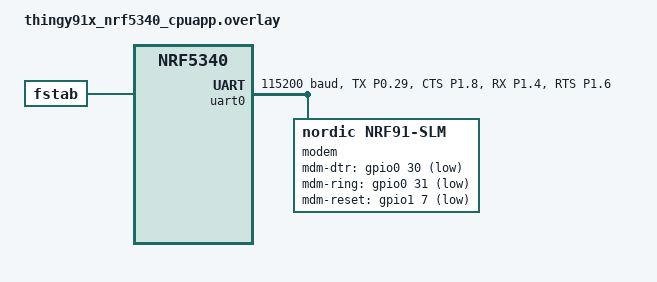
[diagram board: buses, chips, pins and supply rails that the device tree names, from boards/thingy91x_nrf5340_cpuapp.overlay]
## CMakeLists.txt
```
# SPDX-License-Identifier: Apache-2.0

cmake_minimum_required(VERSION 3.20.0)
find_package(Zephyr REQUIRED HINTS $ENV{ZEPHYR_BASE})
project(gateway)

target_include_directories(app PRIVATE include ${CMAKE_CURRENT_BINARY_DIR})

target_sources(app PRIVATE
  src/credentials.c
  src/fatal_error.c
  src/main.c
  git_describe.h
)

if(CONFIG_WIFI)
  target_sources(app PRIVATE src/wifi.c)
endif()

file(WRITE ${CMAKE_CURRENT_BINARY_DIR}/mk-git-describe.sh
  "echo \"#define GIT_DESCRIBE \\\\\" > ${CMAKE_CURRENT_BINARY_DIR}/git_describe.h\n"
  "git describe --always --dirty >> ${CMAKE_CURRENT_BINARY_DIR}/git_describe.h || true\n")

add_custom_command(OUTPUT git_describe.h always_run
  COMMAND chmod +x ${CMAKE_CURRENT_BINARY_DIR}/mk-git-describe.sh
  COMMAND ${CMAKE_CURRENT_BINARY_DIR}/mk-git-describe.sh
  WORKING_DIRECTORY ${CMAKE_CURRENT_LIST_DIR})

if (NOT CONFIG_EXAMPLE_COAP_CLIENT_DTLS_LOAD_CA_FROM_FILESYSTEM)
  generate_inc_file_for_target(app
    ${CMAKE_CURRENT_SOURCE_DIR}/../http_client/src/isrgrootx1.der
    ${ZEPHYR_BINARY_DIR}/include/generated/pouch-ca-crt.inc)
endif()
```

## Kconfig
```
# Copyright (c) 2025 Golioth, Inc.
# SPDX-License-Identifier: Apache-2.0

configdefault NET_SHELL
	default n

configdefault MBEDTLS_HEAP_SIZE
	default 16384

configdefault BT_CTLR_DATA_LENGTH_MAX
	default 251

# This option is used only for automated tests
config SAMPLE_POUCH_GATEWAY_BT_AUTO_BOND
	bool
	default y if BOARD_NRF52_BSIM_NATIVE
	default y if BOARD_NRF9160DK_NRF52840
	default y if BOARD_THINGY91X_NRF5340_CPUAPP_NS

# This option is used only for automated tests
config SAMPLE_POUCH_GATEWAY_BT_AUTO_CONFIRM
	bool
	default y if BOARD_NRF52_BSIM_NATIVE
	default y if BOARD_NRF9160DK_NRF52840
	default y if BOARD_THINGY91X_NRF5340_CPUAPP_NS

config EXAMPLE_COAP_CLIENT_SYNC_PERIOD_S
	int "CoAP client sync period (s)"
	default 30

config EXAMPLE_CREDENTIALS_DIR
	string "Directory containing credentials"
	default "/lfs1/credentials"
	help
	  Directory on mounted file system containing credentials.

config EXAMPLE_COAP_CLIENT_DTLS_CREDENTIALS
	int "Sec Tag to use when storing DTLS credentials"
	default 515765868

config EXAMPLE_COAP_CLIENT_DTLS_LOAD_CA_FROM_FILESYSTEM
	bool "Load the server CA cert from filesystem"
	help
	  Optionally load the CA certificate used for DTLS/mTLS from
	  EXAMPLE_CREDENTIALS_DIR/ca.der. If this symbol is not selected,
	  ISRG Root X1 is used.

config EXAMPLE_COAP_CLIENT_GW_DEVICE_CRT_FILENAME
	string "Gateway device crt filename in filesystem"
	default "crt.der"
	help
	  The filename used to store the mTLS device certificate in the filesystem.

config EXAMPLE_COAP_CLIENT_GW_DEVICE_KEY_FILENAME
	string "Gateway device key filename in filesystem"
	default "key.der"
	help
	  The filename used to store the mTLS device private key in the filesystem.

config EXAMPLE_POUCH_DEVICE_CRT_FILENAME
	string "Pouch device crt filename in filesystem"
	default "crt.der"
	help
	  The filename used to store the pouch device certificate in the filesystem.

config EXAMPLE_POUCH_DEVICE_KEY_FILENAME
	string "Pouch device key filename in filesystem"
	default "key.der"
	help
	  The filename used to store the pouch device private key in the filesystem.

source "Kconfig.zephyr"
```

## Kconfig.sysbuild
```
# Copyright (c) 2025 Golioth, Inc.
# SPDX-License-Identifier: Apache-2.0

rsource "Kconfig.sysbuild.defconfig"

menu "Gateway configuration"

config POUCH_GATEWAY_CLOUD
	bool "Send pouches to cloud"
	default y
	help
	  Disabling cloud communication allows to test Pouch Gateway
	  functionality without relying on communication with backend. All
	  pouches received from Bluetooth nodes are dropped in that case.

config POUCH_COAP_GW_URI
	string "CoAP gateway address"
	default "$(CONFIG_POUCH_COAP_GW_URI)" if "$(CONFIG_POUCH_COAP_GW_URI)" != ""
	default "coap.golioth.io"
	help
	  Hostname of the CoAP gateway server.

endmenu

menu "BabbleSim components"
	depends on SOC = "native"

config BSIM_HANDBRAKE
	bool "Handbrake"
	default y if POUCH_GATEWAY_CLOUD

endmenu

menu "BabbleSim peripherals"
	depends on SOC = "native"

config PERIPHERAL_ZEPHYR
	bool "Zephyr"
	help
	  Zephyr peripheral sample.

config PERIPHERAL_ZEPHYR_NUM
	int "Number of Zephyr peripherals"
	default 1
	depends on PERIPHERAL_ZEPHYR

config PERIPHERAL_PERIODIC_UPLINK
	bool "Periodic uplink"
	help
	  Periodic uplink sample.

config PERIPHERAL_PERIODIC_UPLINK_NUM
	int "Number of periodic uplink peripherals"
	default 1
	depends on PERIPHERAL_PERIODIC_UPLINK

config PERIPHERAL_BLE_GATT_EXAMPLE
	bool "BLE GATT example"
	default y
	help
	  BLE GATT sample.

config PERIPHERAL_BLE_GATT_EXAMPLE_NUM
	int "Number of BLE GATT example peripherals"
	default 1
	depends on PERIPHERAL_BLE_GATT_EXAMPLE

endmenu

config PERIPHERAL_MOUNT_CREDS
	string "Peripheral /creds mount source"
	default ""
	help
	  When set to a non-empty value, mount that host-side path (resolved
	  relative to each peripheral sub-image's runtime cwd) at /creds
	  inside the peripheral image. Leave empty to disable the mount.

config GATEWAY_MOUNT_CREDS
	string "Gateway /creds mount source"
	default ""
	help
	  When set to a non-empty value, mount that host-side path (resolved
	  relative to the gateway sub-image's runtime cwd) at /creds inside
	  the gateway image. Leave empty to disable the mount.

source "share/sysbuild/Kconfig"
```

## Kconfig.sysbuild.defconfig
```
# Copyright (c) 2026 Golioth, Inc.
# SPDX-License-Identifier: Apache-2.0

if BOARD_THINGY91X_NRF5340_CPUAPP || BOARD_THINGY91X_NRF5340_CPUAPP_NS

choice NETCORE
	prompt "Netcore image"
	default NETCORE_HCI_IPC

config NETCORE_HCI_IPC
	bool "hci_ipc"

endchoice

choice THINGY91X_LAYOUT
	prompt "Pre-defined Thingy:91 X partition layout"
	default THINGY91X_NO_PREDEFINED_LAYOUT

config THINGY91X_NO_PREDEFINED_LAYOUT
	bool "None [EXPERIMENTAL]"
endchoice

configdefault SECURE_BOOT_NETCORE
	bool
	default n

configdefault SECURE_BOOT_APPCORE
	bool
	default n

configdefault NETCORE_APP_UPDATE
	bool
	default n

configdefault NRF_DEFAULT_EMPTY
	bool
	default n

endif # BOARD_THINGY91X_NRF5340_CPUAPP || BOARD_THINGY91X_NRF5340_CPUAPP_NS
```

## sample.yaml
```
sample:
  name: Pouch Gateway
common:
  tags: bluetooth
  harness: pytest
  harness_config:
    pytest_dut_scope: module
  sysbuild: true
  platform_allow:
    - nrf52_bsim
  integration_platforms:
    - nrf52_bsim
  timeout: 180
tests:
  pouch.gateway.lesc:
    harness_config:
      pytest_dut_scope: module
      pytest_root:
        - pytest/test_sample.py
    extra_args:
      - SB_CONFIG_PERIPHERAL_MOUNT_CREDS=y
      - SB_CONFIG_GATEWAY_MOUNT_CREDS=y
      - peripheral_ble_gatt_example_0_CONFIG_PICOLIBC=y
      - peripheral_ble_gatt_example_0_CONFIG_FILE_SYSTEM_NSIM_MOUNT=y
      - peripheral_ble_gatt_example_0_CONFIG_EXAMPLE_SYNC_PERIOD_S=2
      - gateway_CONFIG_EXAMPLE_COAP_CLIENT_SYNC_PERIOD_S=2
  pouch.gateway.auth:
    harness_config:
      pytest_dut_scope: module
      pytest_root:
        - pytest/test_sample.py
    extra_args:
      - SB_CONFIG_PERIPHERAL_MOUNT_CREDS=y
      - SB_CONFIG_GATEWAY_MOUNT_CREDS=y
      - peripheral_ble_gatt_example_0_CONFIG_PICOLIBC=y
      - peripheral_ble_gatt_example_0_CONFIG_FILE_SYSTEM_NSIM_MOUNT=y
      - peripheral_ble_gatt_example_0_CONFIG_EXAMPLE_SYNC_PERIOD_S=2
      - gateway_CONFIG_EXAMPLE_COAP_CLIENT_SYNC_PERIOD_S=2
      - gateway_CONFIG_POUCH_GATEWAY_GATT_SCAN_FILTER_BONDED=y
  pouch.gateway.ota:
    timeout: 300
    harness_config:
      pytest_dut_scope: module
      pytest_root:
        - pytest/test_ota.py
      pytest_args:
        - --ota-mode=dummy
    extra_args:
      - SB_CONFIG_PERIPHERAL_MOUNT_CREDS=y
      - SB_CONFIG_GATEWAY_MOUNT_CREDS=y
      - peripheral_ble_gatt_example_0_CONFIG_PICOLIBC=y
      - peripheral_ble_gatt_example_0_CONFIG_FILE_SYSTEM_NSIM_MOUNT=y
      - peripheral_ble_gatt_example_0_CONFIG_EXAMPLE_SYNC_PERIOD_S=2
      - peripheral_ble_gatt_example_0_CONFIG_EXAMPLE_FW_UPDATE_SHA256_VERIFY=y
      - peripheral_ble_gatt_example_0_CONFIG_GOLIOTH_OTA_MAX_VERSION_LEN=64
      - peripheral_ble_gatt_example_0_EXTRA_CONF_FILE=../gateway/overlay-ble_gatt-ci-ota.conf
      - gateway_CONFIG_EXAMPLE_COAP_CLIENT_SYNC_PERIOD_S=2
```

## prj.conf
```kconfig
CONFIG_POUCH=y
CONFIG_POUCH_GATEWAY=y
CONFIG_POUCH_TRANSPORT_COAP_CLIENT=y
CONFIG_GOLIOTH=y
CONFIG_GOLIOTH_SETTINGS=y

CONFIG_BT=y
CONFIG_BT_CENTRAL=y
CONFIG_BT_MAX_CONN=16
CONFIG_BT_GATT_CLIENT=y
CONFIG_BT_GATT_CACHING=n
CONFIG_BT_GATT_AUTO_UPDATE_MTU=y
CONFIG_BT_L2CAP_TX_MTU=247
CONFIG_BT_BUF_ACL_TX_SIZE=251
CONFIG_BT_BUF_ACL_RX_SIZE=251
CONFIG_BT_RX_STACK_SIZE=4096

CONFIG_COAP_INIT_ACK_TIMEOUT_MS=3000

CONFIG_LOG=y

# Settings subsystem
CONFIG_FLASH=y
CONFIG_FLASH_MAP=y

CONFIG_SETTINGS=y
CONFIG_SETTINGS_FILE=y
CONFIG_SETTINGS_FILE_PATH="/lfs1/settings"

# Application
CONFIG_MAIN_STACK_SIZE=8192
CONFIG_SYSTEM_WORKQUEUE_STACK_SIZE=2048
CONFIG_SHELL=y

CONFIG_ZVFS_EVENTFD_MAX=11

# Pouch server certificate parse
CONFIG_MBEDTLS_PSA_CRYPTO_C=y
CONFIG_MBEDTLS_PEM_PARSE_C=y
CONFIG_PSA_WANT_ALG_ECDSA=y
CONFIG_PSA_WANT_ALG_SHA_384=y
CONFIG_PSA_WANT_ECC_SECP_R1_256=y
CONFIG_PSA_WANT_ECC_SECP_R1_384=y
CONFIG_PSA_WANT_KEY_TYPE_ECC_PUBLIC_KEY=y

# Bluetooth secure connections
CONFIG_BT_SMP=y
CONFIG_BT_SECURITY_ERR_TO_STR=y
# This option is implied by BT_SMP and breaks secp384r1 support
CONFIG_MBEDTLS_PSA_P256M_DRIVER_ENABLED=n

# Networking
CONFIG_NETWORKING=y
CONFIG_NET_IPV4=y
CONFIG_NET_IPV6=n
CONFIG_NET_UDP=y
CONFIG_DNS_RESOLVER=y
CONFIG_NET_SOCKETS_CONNECT_TIMEOUT=6000
CONFIG_NET_SOCKETS_SOCKOPT_TLS=y
CONFIG_NET_SOCKETS_ENABLE_DTLS=y

# Sockets
CONFIG_NET_SOCKETS=y
CONFIG_ZVFS_POLL_MAX=4
CONFIG_POSIX_API=y

# Network driver config
CONFIG_TEST_RANDOM_GENERATOR=y

# Network buffers
CONFIG_NET_PKT_RX_COUNT=8
CONFIG_NET_PKT_TX_COUNT=8
CONFIG_NET_CONTEXT_NET_PKT_POOL=y

# Network address config
CONFIG_NET_CONFIG_SETTINGS=y
CONFIG_NET_CONFIG_NEED_IPV4=y
CONFIG_NET_CONFIG_NEED_IPV6=n

# CoAP
CONFIG_COAP=y

# File system for credentials
CONFIG_FILE_SYSTEM=y
CONFIG_FILE_SYSTEM_LITTLEFS=y
CONFIG_FILE_SYSTEM_SHELL=y

# Flash for LittleFS
CONFIG_STREAM_FLASH=y

# TLS/DTLS configuration
CONFIG_MBEDTLS=y
CONFIG_MBEDTLS_BUILTIN=y
CONFIG_MBEDTLS_ENABLE_HEAP=y
CONFIG_MBEDTLS_HEAP_SIZE=60000
CONFIG_MBEDTLS_SSL_MAX_CONTENT_LEN=16384
CONFIG_MBEDTLS_SSL_PROTO_TLS1_2=y
CONFIG_MBEDTLS_X509_CRT_PARSE_C=y
CONFIG_MBEDTLS_KEY_EXCHANGE_ECDHE_ECDSA_ENABLED=y

# TLS cipher suites (via PSA Crypto)
CONFIG_PSA_WANT_ALG_ECDH=y
CONFIG_PSA_WANT_ALG_ECDSA=y
CONFIG_PSA_WANT_ALG_GCM=y
CONFIG_PSA_WANT_ALG_RSA_PKCS1V15_SIGN=y
CONFIG_PSA_WANT_ALG_SHA_256=y
CONFIG_PSA_WANT_ALG_TLS12_PRF=y
CONFIG_PSA_WANT_KEY_TYPE_AES=y
CONFIG_PSA_WANT_KEY_TYPE_ECC_KEY_PAIR_GENERATE=y
CONFIG_PSA_WANT_KEY_TYPE_RSA_PUBLIC_KEY=y
CONFIG_PSA_WANT_KEY_TYPE_RSA_KEY_PAIR_IMPORT=y

# Misc
CONFIG_REBOOT=y

# The shared pouch_buf pool backs both device-side pouch transfers
# and gateway downlink buffering.  Each slot must fit one CoAP block
# (CONFIG_POUCH_COAP_BLOCK_SIZE, default 1024) plus the protocol
# header overhead.  The count covers POUCH_GATEWAY_NUM_BLOCKS in-flight
# downlink blocks (default 10) plus headroom for the gateway's own
# device-side uplink/downlink.
CONFIG_POUCH_BLOCK_SIZE=1024
CONFIG_POUCH_BLOCK_COUNT=12

# Server cert buffers (Golioth's server cert is ~1.5 KB)
CONFIG_POUCH_SERVER_CERT_MAX_LEN=2048
CONFIG_POUCH_GATEWAY_SERVER_CERT_MAX_LEN=2048

# Enable mcumgr
CONFIG_ZCBOR=y
CONFIG_MCUMGR=y

# Enable the shell mcumgr transport. This allows SMP messages to pass
# through the shell to the mgmt subsystem.
CONFIG_BASE64=y
CONFIG_CRC=y
CONFIG_MCUMGR_TRANSPORT_SHELL=y

# Enable mcumgr params to allow smpmgr to query device for its MTU
CONFIG_MCUMGR_GRP_OS=y
CONFIG_MCUMGR_GRP_OS_MCUMGR_PARAMS=y

# Enable file system commands
CONFIG_MCUMGR_GRP_FS=y
CONFIG_MCUMGR_GRP_FS_FILE_ACCESS_HOOK=y
CONFIG_MCUMGR_MGMT_NOTIFICATION_HOOKS=y
```

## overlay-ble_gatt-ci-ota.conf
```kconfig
CONFIG_EXAMPLE_FW_UPDATE_COMPONENT="ci_gateway_ota_fw"
```

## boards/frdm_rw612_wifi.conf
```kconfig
# Extra configuration file for using NXP frdm_rw612 with WiFi instead of Ethernet
#   To use, add as extra conf file:
#   west build -p -b frdm_rw612 <path_to>/gateway -- -DEXTRA_CONF_FILE=boards/frdm_rw612_wifi.conf
#
CONFIG_WIFI=y
CONFIG_WIFI_NXP=y

# Ensure that filesystem initializes before settings
CONFIG_FILE_SYSTEM_INIT_PRIORITY=89

# Runtime provisioning for WiFi credentials
CONFIG_WIFI_CREDENTIALS=y
CONFIG_NET_L2_WIFI_SHELL=y
CONFIG_SHELL_STACK_SIZE=2560

# Wifi Configuration
CONFIG_NET_L2_ETHERNET=y
CONFIG_NET_PKT_RX_COUNT=36
CONFIG_NET_PKT_TX_COUNT=36
CONFIG_NET_BUF_RX_COUNT=40
CONFIG_NET_BUF_TX_COUNT=40
CONFIG_NET_BUF_DATA_SIZE=1744

# Handle WiFi Networks with Multiple DNS Servers
CONFIG_DNS_RESOLVER_MAX_SERVERS=3

# Disable Ethernet
CONFIG_ETH_NXP_ENET=n
CONFIG_PHY_MICROCHIP_KSZ8081=n
CONFIG_NET_CONFIG_AUTO_INIT=n
CONFIG_NET_CONFIG_NEED_IPV4=n
```

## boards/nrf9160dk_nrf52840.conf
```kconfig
# Reduce max connected BT devices help with RAM usage
CONFIG_BT_MAX_CONN=8

# PPP
CONFIG_NET_L2_PPP=y
CONFIG_NET_L2_PPP_OPTION_DNS_USE=y

# Network management
CONFIG_NET_MGMT=y
CONFIG_NET_MGMT_EVENT=y
CONFIG_NET_CONNECTION_MANAGER=y

# Modem driver
CONFIG_MODEM=y
CONFIG_MODEM_CELLULAR=y

# Align with the Serial LTE Modem (SLM) application.
CONFIG_MODEM_CELLULAR_UART_BUFFER_SIZES=6000

# CMUX configuration
# MTU must accommodate PPP frames (up to 1500 bytes for IP packets)
CONFIG_MODEM_CMUX_MTU=1500
CONFIG_MODEM_CMUX_WORK_BUFFER_SIZE_EXTRA=1024

# NB-IoT latency can reach 10s; use greater timeouts
CONFIG_NET_SOCKETS_DNS_TIMEOUT=15000
CONFIG_NET_SOCKETS_CONNECT_TIMEOUT=15000
CONFIG_COAP_INIT_ACK_TIMEOUT_MS=15000
CONFIG_NET_SOCKETS_DTLS_TIMEOUT=15000
```

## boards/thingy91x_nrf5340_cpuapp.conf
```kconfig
# Reduce max connected BT devices to help with RAM usage
CONFIG_BT_MAX_CONN=8

# PPP networking over Serial Modem
CONFIG_NET_L2_PPP=y
CONFIG_NET_L2_PPP_OPTION_DNS_USE=y

# Network management
CONFIG_NET_MGMT=y
CONFIG_NET_MGMT_EVENT=y
CONFIG_NET_CONNECTION_MANAGER=y

# Modem driver
CONFIG_MODEM=y
CONFIG_MODEM_CELLULAR=y

# CMUX and buffer configuration
# MTU must accommodate PPP frames (up to 1500 bytes for IP packets)
CONFIG_MODEM_CMUX_MTU=1500
CONFIG_MODEM_CELLULAR_UART_BUFFER_SIZES=6000
CONFIG_MODEM_CMUX_WORK_BUFFER_SIZE_EXTRA=2048

# UART configuration for nRF5340
CONFIG_UART_INTERRUPT_DRIVEN=y
CONFIG_UART_ASYNC_API=n

# GPIO
CONFIG_GPIO=y

# Console on RTT (UART0 is used for the modem)
CONFIG_UART_CONSOLE=n
CONFIG_RTT_CONSOLE=y
CONFIG_SHELL_BACKEND_RTT=y
CONFIG_LOG_BACKEND_UART=n
CONFIG_SEGGER_RTT_BUFFER_SIZE_UP=2048

# Debug logging
CONFIG_LOG_DEFAULT_LEVEL=3

# NB-IoT latency can reach 10s; use greater timeouts
CONFIG_NET_SOCKETS_DNS_TIMEOUT=15000
CONFIG_NET_SOCKETS_CONNECT_TIMEOUT=15000
CONFIG_COAP_INIT_ACK_TIMEOUT_MS=15000
CONFIG_NET_SOCKETS_DTLS_TIMEOUT=15000

# Increase default BT ACL TX count
CONFIG_BT_BUF_ACL_TX_COUNT=7
```

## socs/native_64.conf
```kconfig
# Use offloaded sockets using host BSD sockets
CONFIG_ETH_DRIVER=n
CONFIG_ETH_NATIVE_TAP=n
CONFIG_NET_DRIVERS=y
CONFIG_NET_SOCKETS=y
CONFIG_NET_SOCKETS_OFFLOAD=y
CONFIG_NET_NATIVE_OFFLOADED_SOCKETS=y

# Use embedded libc to use Zephyr's eventfd instead of host eventfd
CONFIG_PICOLIBC=y

# Static networking
CONFIG_NET_CONFIG_LOG_LEVEL_DBG=y
CONFIG_NET_CONFIG_SETTINGS=y
CONFIG_NET_CONFIG_NEED_IPV4=y
CONFIG_NET_CONFIG_MY_IPV4_ADDR="192.0.2.1"
CONFIG_NET_CONFIG_MY_IPV4_GW="192.0.2.2"
CONFIG_NET_CONFIG_PEER_IPV4_ADDR="192.0.2.2"
```

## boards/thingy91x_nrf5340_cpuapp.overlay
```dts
/*
 * Thingy:91 X overlay for Serial Modem communication with on-board nRF9151
 *
 * UART0 is used for Serial Modem communication with 4-wire UART (HW flow control).
 * Pin assignment matches the pouch-gateway BT HCI UART wiring:
 *   TX  = P0.29 <-> nRF9151 P0.00 (RX)
 *   RX  = P1.04 <-> nRF9151 P0.01 (TX)
 *   RTS = P1.06 <-> nRF9151 P0.05 (CTS)
 *   CTS = P1.08 <-> nRF9151 P0.04 (RTS)
 *   DTR = P1.15 <-> nRF9151 P0.26 (Power/DTR)
 *
 * Console is on RTT since UART0 is used for the modem.
 */

/ {
	chosen {
		zephyr,code-partition = &slot0_partition;
	};

	aliases {
		modem = &modem;
	};

	fstab {
		compatible = "zephyr,fstab";
		lfs1: lfs1 {
			compatible = "zephyr,fstab,littlefs";
			mount-point = "/lfs1";
			partition = <&storage_partition>;
			automount;
			read-size = <16>;
			prog-size = <16>;
			cache-size = <64>;
			lookahead-size = <32>;
			block-cycles = <512>;
		};
	};
};

/delete-node/ &boot_partition;
/delete-node/ &slot0_partition;
/delete-node/ &slot1_partition;

&flash0 {
	partitions {
		slot0_partition: partition@0 {
			compatible = "zephyr,mapped-partition";
			label = "image-0";
			reg = <0x00000000 0x000f8000>;
		};
	};
};

&uart0 {
	status = "okay";
	current-speed = <115200>;
	hw-flow-control;
	pinctrl-0 = <&uart_vcom0_vcom1_default>;
	pinctrl-1 = <&uart_vcom0_vcom1_sleep>;
	pinctrl-names = "default", "sleep";

	/* Nordic nRF91 Serial Modem configuration */
	modem: modem {
		compatible = "nordic,nrf91-slm";
		status = "okay";
		mdm-dtr-gpios = <&gpio0 30 GPIO_ACTIVE_LOW>;
		mdm-ring-gpios = <&gpio0 31 (GPIO_ACTIVE_LOW | GPIO_PULL_DOWN)>;
		mdm-reset-gpios = <&gpio1 7 GPIO_ACTIVE_LOW>;
	};
};

&pinctrl {
	/* UART0 with HW flow control using pouch-gateway BT HCI pin assignment */
	uart_vcom0_vcom1_default: uart_vcom0_vcom1_default {
		group1 {
			psels = <NRF_PSEL(UART_TX,  0, 29)>,
			        <NRF_PSEL(UART_CTS, 1, 8)>,
			        <NRF_PSEL(UART_RX,  1, 4)>,
			        <NRF_PSEL(UART_RTS, 1, 6)>;
		};
	};

	uart_vcom0_vcom1_sleep: uart_vcom0_vcom1_sleep {
		group1 {
			psels = <NRF_PSEL(UART_TX, 0, 29)>,
				<NRF_PSEL(UART_CTS, 1, 8)>,
				<NRF_PSEL(UART_RX, 1, 4)>,
				<NRF_PSEL(UART_RTS, 1, 6)>;
			low-power-enable;
		};
	};
};
```

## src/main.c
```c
/*
 * Copyright (c) 2025 Golioth, Inc.
 *
 * SPDX-License-Identifier: Apache-2.0
 */

#include <zephyr/bluetooth/bluetooth.h>
#include <zephyr/bluetooth/conn.h>
#include <zephyr/bluetooth/hci.h>
#include <zephyr/net/net_if.h>
#include <zephyr/net/net_mgmt.h>
#include <zephyr/net/dhcpv4.h>
#include <zephyr/drivers/gpio.h>

#include <pouch/pouch.h>
#include <pouch/uplink.h>
#include <pouch/transport/bluetooth/gatt.h>
#include <pouch/transport/certificate.h>
#include <pouch/transport/coap/client.h>
#include <pouch/transport/coap/gateway.h>

#include <pouch/gateway/bt/bond.h>
#include <pouch/gateway/bt/connect.h>
#include <pouch/gateway/bt/scan.h>
#include <pouch/gateway/cert.h>
#include <pouch/gateway/cloud.h>
#include <pouch/gateway/uplink.h>

#include <golioth/settings_callbacks.h>

#include "credentials.h"

#if defined(CONFIG_WIFI)
#include "wifi.h"
#endif

#include <git_describe.h>

#include <zephyr/logging/log.h>
LOG_MODULE_REGISTER(main);

struct net_wait_data
{
    struct k_sem sem;
    struct net_mgmt_event_callback cb;
};

static const struct gpio_dt_spec button = GPIO_DT_SPEC_GET_OR(DT_ALIAS(sw0), gpios, {});
static struct gpio_callback button_cb_data;
static struct bt_conn *default_conn;

static const k_timeout_t bonding_timeout = K_SECONDS(30);
static const bt_security_t bt_security =
    IS_ENABLED(CONFIG_POUCH_GATEWAY_GATT_SCAN_FILTER_BONDED) ? BT_SECURITY_L4 : BT_SECURITY_L2;

static void button_pressed(const struct device *dev, struct gpio_callback *cb, uint32_t pins)
{
    if (default_conn)
    {
        LOG_INF("Confirming passkey");
        bt_conn_auth_passkey_confirm(default_conn);
    }
    else if (pouch_gateway_bonding_is_enabled())
    {
        LOG_WRN("Bonding already enabled");
    }
    else
    {
        pouch_gateway_bonding_enable(bonding_timeout);
    }
}

static void do_uplink(void)
{
    const char *payload = "{\"temp\":22}";
    pouch_uplink_entry_write(".s/sensor",
                             POUCH_CONTENT_TYPE_JSON,
                             payload,
                             strlen(payload),
                             POUCH_FOREVER);
}
POUCH_UPLINK_HANDLER(do_uplink);

static int led_setting_cb(bool new_value)
{
    LOG_INF("Received LED setting: %d", (int) new_value);

    return 0;
}

GOLIOTH_SETTINGS_HANDLER(LED, led_setting_cb);

static void event_cb_handler(struct net_mgmt_event_callback *cb,
                             uint64_t mgmt_event,
                             struct net_if *iface)
{
    struct net_wait_data *wait = CONTAINER_OF(cb, struct net_wait_data, cb);

    if (mgmt_event == cb->event_mask)
    {
        k_sem_give(&wait->sem);
    }
}

static void wait_for_net_event(struct net_if *iface, uint64_t event)
{
    struct net_wait_data wait;

    wait.cb.handler = event_cb_handler;
    wait.cb.event_mask = event;

    k_sem_init(&wait.sem, 0, 1);
    net_mgmt_add_event_callback(&wait.cb);

    k_sem_take(&wait.sem, K_FOREVER);

    net_mgmt_del_event_callback(&wait.cb);
}

static void wait_for_network(void)
{
    struct net_if *iface = net_if_get_default();

    if (!net_if_is_up(iface))
    {
        LOG_INF("Bringing up network interface (%p)", (void *) iface);
        int ret = net_if_up(iface);
        if ((ret < 0) && (ret != -EALREADY))
        {
            LOG_ERR("Failed to bring up network interface: %d", ret);
            return;
        }
    }

    if (IS_ENABLED(CONFIG_WIFI))
    {
        struct net_wait_data wait;

        wait.cb.handler = event_cb_handler;
        wait.cb.event_mask = NET_EVENT_IPV4_ADDR_ADD;
        k_sem_init(&wait.sem, 0, 1);
        net_mgmt_add_event_callback(&wait.cb);

        IF_ENABLED(CONFIG_WIFI, (wifi_connect()));

        if (IS_ENABLED(CONFIG_NET_DHCPV4))
        {
            net_dhcpv4_start(iface);
        }

        LOG_INF("Waiting to obtain IP address");
        k_sem_take(&wait.sem, K_FOREVER);
        net_mgmt_del_event_callback(&wait.cb);
    }
    else if (IS_ENABLED(CONFIG_NET_L2_ETHERNET) && IS_ENABLED(CONFIG_NET_DHCPV4))
    {
        net_dhcpv4_start(net_if_get_default());
    }
    else if (IS_ENABLED(CONFIG_MODEM))
    {
        LOG_INF("Waiting to obtain IP address");
        wait_for_net_event(iface,
                           IS_ENABLED(DNS_SERVER_IP_ADDRESSES) ? NET_EVENT_DNS_SERVER_ADD
                                                               : NET_EVENT_IPV4_ADDR_ADD);
    }
}

static void bt_connected(struct bt_conn *conn, uint8_t err)
{
    char addr[BT_ADDR_LE_STR_LEN];

    bt_addr_le_to_str(bt_conn_get_dst(conn), addr, sizeof(addr));

    if (err)
    {
        LOG_ERR("Failed to connect to %s %u %s", addr, err, bt_hci_err_to_str(err));

        bt_conn_unref(conn);

        pouch_gateway_scan_start();
        return;
    }

    LOG_INF("Connected: %s", addr);
    default_conn = conn;

    err = bt_conn_set_security(conn, bt_security);
    if (err)
    {
        LOG_ERR("Failed to set security (%d).", err);

        bt_conn_disconnect(conn, BT_HCI_ERR_REMOTE_USER_TERM_CONN);
        return;
    }
}

static void bt_disconnected(struct bt_conn *conn, uint8_t reason)
{
    char addr[BT_ADDR_LE_STR_LEN];

    default_conn = NULL;

    bt_addr_le_to_str(bt_conn_get_dst(conn), addr, sizeof(addr));
    LOG_INF("Disconnected: %s, reason 0x%02x %s", addr, reason, bt_hci_err_to_str(reason));

    bt_conn_unref(conn);

    pouch_gateway_scan_start();
}

static void on_gateway_end(struct bt_conn *conn)
{
    bt_conn_disconnect(conn, BT_HCI_ERR_REMOTE_USER_TERM_CONN);
}

static void security_changed(struct bt_conn *conn, bt_security_t level, enum bt_security_err err)
{
    if (err)
    {
        LOG_ERR("BT security change failed. Current level: %d, err: %s(%u)",
                level,
                bt_security_err_to_str(err),
                err);

        struct bt_conn_info info;
        bt_conn_get_info(conn, &info);

        bt_unpair(info.id, info.le.dst);
        bt_conn_disconnect(conn, BT_HCI_ERR_INSUFFICIENT_SECURITY);
    }
    else
    {
        LOG_INF("BT security changed to level %u", level);

        int ret = pouch_gateway_bt_start(conn, on_gateway_end);
        if (ret < 0)
        {
            LOG_ERR("Failed to start Pouch gateway (%d)", ret);
            bt_conn_disconnect(conn, BT_HCI_ERR_REMOTE_USER_TERM_CONN);
        }
    }
}

BT_CONN_CB_DEFINE(conn_callbacks) = {
    .connected = bt_connected,
    .disconnected = bt_disconnected,
    .security_changed = security_changed,
};

static void auth_cancel(struct bt_conn *conn)
{
    char addr[BT_ADDR_LE_STR_LEN];

    bt_addr_le_to_str(bt_conn_get_dst(conn), addr, sizeof(addr));

    LOG_INF("Pairing cancelled: %s", addr);
}

static void auth_passkey_confirm(struct bt_conn *conn, unsigned int passkey)
{
    char addr[BT_ADDR_LE_STR_LEN];
    char passkey_str[7];

    bt_addr_le_to_str(bt_conn_get_dst(conn), addr, sizeof(addr));

    snprintk(passkey_str, 7, "%06u", passkey);

    LOG_INF("Confirm passkey for %s: %s", addr, passkey_str);

    if (IS_ENABLED(CONFIG_SAMPLE_POUCH_GATEWAY_BT_AUTO_CONFIRM))
    {
        LOG_INF("Confirming passkey");
        bt_conn_auth_passkey_confirm(conn);
    }
}

static void auth_passkey_display(struct bt_conn *conn, unsigned int passkey)
{
    char addr[BT_ADDR_LE_STR_LEN];
    char passkey_str[7];

    bt_addr_le_to_str(bt_conn_get_dst(conn), addr, sizeof(addr));

    snprintk(passkey_str, 7, "%06u", passkey);

    LOG_INF("Passkey for %s: %s", addr, passkey_str);
}

static struct bt_conn_auth_cb auth_cb = {
    .cancel = auth_cancel,

    .passkey_confirm =
        IS_ENABLED(CONFIG_POUCH_GATEWAY_GATT_SCAN_FILTER_BONDED) ? auth_passkey_confirm : NULL,
    .passkey_display =
        IS_ENABLED(CONFIG_POUCH_GATEWAY_GATT_SCAN_FILTER_BONDED) ? auth_passkey_display : NULL,
};

static void pairing_complete(struct bt_conn *conn, bool bonded)
{
    LOG_INF("Pairing Complete");
}

static void pairing_failed(struct bt_conn *conn, enum bt_security_err reason)
{
    LOG_WRN("Pairing Failed (%d). Disconnecting.", reason);

    bt_conn_disconnect(conn,
                       (reason == BT_SECURITY_ERR_PAIR_NOT_ALLOWED) ? BT_HCI_ERR_PAIRING_NOT_ALLOWED
                                                                    : BT_HCI_ERR_AUTH_FAIL);
}

static struct bt_conn_auth_info_cb auth_info_cb = {
    .pairing_complete = pairing_complete,
    .pairing_failed = pairing_failed,
};

int main(void)
{
    int err;

    LOG_INF("Gateway Version: " STRINGIFY(GIT_DESCRIBE));
    LOG_INF("Pouch BLE Transport Protocol Version: %d", POUCH_GATT_VERSION);

    /* Load the Pouch device's identity (cert + key). */
    struct pouch_config config = {0};

    err = load_certificate(&config.certificate);
    if (err)
    {
        LOG_ERR("Failed to load certificate (err %d)", err);
        return 0;
    }

    config.private_key = load_private_key();
    if (config.private_key == PSA_KEY_ID_NULL)
    {
        LOG_ERR("Failed to load private key");
        return 0;
    }

    LOG_INF("Credentials loaded");

    err = pouch_init(&config);
    if (err)
    {
        LOG_ERR("Pouch init failed (err %d)", err);
        return 0;
    }

    /* Load DTLS credentials for the CoAP transport. */
    if (IS_ENABLED(CONFIG_POUCH_GATEWAY_CLOUD))
    {
        err = load_coap_server_ca(CONFIG_EXAMPLE_COAP_CLIENT_DTLS_CREDENTIALS);
        if (err)
        {
            LOG_ERR("Failed to load server CA certificate (err %d)", err);
            return 0;
        }

        err = load_coap_gw_device_crt(CONFIG_EXAMPLE_COAP_CLIENT_DTLS_CREDENTIALS);
        if (err)
        {
            LOG_ERR("Failed to load device certificate (err %d)", err);
            return 0;
        }

        err = load_coap_gw_device_key(CONFIG_EXAMPLE_COAP_CLIENT_DTLS_CREDENTIALS);
        if (err)
        {
            LOG_ERR("Failed to load device key (err %d)", err);
            return 0;
        }

        err = pouch_coap_client_init(CONFIG_EXAMPLE_COAP_CLIENT_DTLS_CREDENTIALS);
        if (err)
        {
            LOG_ERR("Failed to initialize CoAP client transport: %d", err);
            return err;
        }

        pouch_coap_gateway_init();
    }

    if (DT_HAS_ALIAS(sw0))
    {
        LOG_INF("Set up button at %s pin %d", button.port->name, button.pin);

        err = gpio_pin_configure_dt(&button, GPIO_INPUT);
        if (err < 0)
        {
            LOG_ERR("Could not initialize Button");
        }

        err = gpio_pin_interrupt_configure_dt(&button, GPIO_INT_EDGE_TO_ACTIVE);
        if (err)
        {
            LOG_ERR("Error %d: failed to configure interrupt on %s pin %d",
                    err,
                    button.port->name,
                    button.pin);
            return 0;
        }

        gpio_init_callback(&button_cb_data, button_pressed, BIT(button.pin));
        gpio_add_callback(button.port, &button_cb_data);
    }

    /* Wait for network and prime the cloud transport so the server
     * certificate is available before any BLE peripheral connects.
     */
    if (IS_ENABLED(CONFIG_POUCH_GATEWAY_CLOUD))
    {
        wait_for_network();

        while (true)
        {
            err = pouch_gateway_cloud_ensure_ready();
            if (!err)
            {
                break;
            }
            LOG_WRN("Initial cloud transport setup failed: %d, will retry", err);
            k_sleep(K_SECONDS(5));
        }
    }

    pouch_gateway_cert_module_init();
    pouch_gateway_uplink_module_init();

    err = bt_enable(NULL);
    if (err)
    {
        LOG_ERR("Bluetooth init failed (err %d)", err);
        return err;
    }

    if (IS_ENABLED(CONFIG_BT_SMP))
    {
        bt_conn_auth_cb_register(&auth_cb);
        bt_conn_auth_info_cb_register(&auth_info_cb);
    }

    LOG_INF("Bluetooth initialized");

    if (IS_ENABLED(CONFIG_SAMPLE_POUCH_GATEWAY_BT_AUTO_BOND))
    {
        pouch_gateway_bonding_enable(K_FOREVER);
    }

    pouch_gateway_scan_start();

    if (IS_ENABLED(CONFIG_POUCH_GATEWAY_CLOUD))
    {
        while (true)
        {
            k_sleep(K_SECONDS(CONFIG_EXAMPLE_COAP_CLIENT_SYNC_PERIOD_S));

            err = pouch_coap_client_sync();
            if (err)
            {
                LOG_WRN("CoAP sync failed: %d", err);
            }
        }
    }

    return 0;
}
```

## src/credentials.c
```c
/*
 * Copyright (c) 2025 Golioth, Inc.
 *
 * SPDX-License-Identifier: Apache-2.0
 */

#include <stdlib.h>

#include <zephyr/fs/fs.h>
#include <zephyr/init.h>
#include <zephyr/net/tls_credentials.h>
#include <zephyr/sys/util.h>

#include <mbedtls/pk.h>
#include <mbedtls/psa_util.h>

#include <pouch/pouch.h>

#include <zephyr/logging/log.h>
LOG_MODULE_REGISTER(credentials);

#define CERT_DIR CONFIG_EXAMPLE_CREDENTIALS_DIR
#define COAP_CA_FILE CERT_DIR "/ca.der"
#define GW_CERT_FILE CERT_DIR "/" CONFIG_EXAMPLE_COAP_CLIENT_GW_DEVICE_CRT_FILENAME
#define GW_KEY_FILE CERT_DIR "/" CONFIG_EXAMPLE_COAP_CLIENT_GW_DEVICE_KEY_FILENAME
#define CERT_FILE CERT_DIR "/" CONFIG_EXAMPLE_POUCH_DEVICE_CRT_FILENAME
#define KEY_FILE CERT_DIR "/" CONFIG_EXAMPLE_POUCH_DEVICE_KEY_FILENAME

struct mutual_dtls_pki
{
    uint8_t *ca_cert;
    ssize_t ca_cert_len;
    uint8_t *gw_crt;
    ssize_t gw_crt_len;
    uint8_t *gw_key;
    ssize_t gw_key_len;
} _m_dtls_ctx;

#ifndef CONFIG_EXAMPLE_COAP_CLIENT_DTLS_LOAD_CA_FROM_FILESYSTEM
static const uint8_t dtls_ca_crt[] = {
#include "pouch-ca-crt.inc"
};
#endif

/** Load the raw private key data into PSA */
static psa_key_id_t import_raw_pk(const uint8_t *private_key, size_t size)
{
    mbedtls_pk_context pk;
    mbedtls_pk_init(&pk);
    int err = mbedtls_pk_parse_key(&pk, private_key, size, NULL, 0);
    if (err)
    {
        LOG_ERR("Failed to parse key: -0x%x", -err);
        return PSA_KEY_ID_NULL;
    }

    psa_key_attributes_t attrs = PSA_KEY_ATTRIBUTES_INIT;

    psa_set_key_algorithm(&attrs, PSA_ALG_ECDH);
    psa_set_key_type(&attrs, PSA_KEY_TYPE_ECC_KEY_PAIR(PSA_ECC_FAMILY_SECP_R1));
    psa_set_key_usage_flags(&attrs, PSA_KEY_USAGE_DERIVE);

    psa_key_id_t key_id;
    err = mbedtls_pk_import_into_psa(&pk, &attrs, &key_id);
    if (err)
    {
        LOG_ERR("Failed to import private key: -0x%x", -err);
        return PSA_KEY_ID_NULL;
    }

    return key_id;
}

static int ensure_credentials_dir(void)
{
    struct fs_dirent dirent;

    int err = fs_stat(CERT_DIR, &dirent);
    if (err == -ENOENT)
    {
        err = fs_mkdir(CERT_DIR);
    }

    if (err)
    {
        LOG_ERR("Failed to create credentials dir: %d", err);
    }

    return err;
}

/* Run after filesystem mounts, before SMP provisioning */
SYS_INIT(ensure_credentials_dir, APPLICATION, 85);

static ssize_t get_file_size(const char *path)
{
    struct fs_dirent dirent;

    int err = fs_stat(path, &dirent);

    if (err < 0)
    {
        return err;
    }
    if (dirent.type != FS_DIR_ENTRY_FILE)
    {
        return -EISDIR;
    }

    return dirent.size;
}

static ssize_t read_file(const char *path, uint8_t **out)
{
    ssize_t size = get_file_size(path);
    if (size <= 0)
    {
        return size;
    }

    uint8_t *buf = malloc(size);
    if (buf == NULL)
    {
        return -ENOMEM;
    }

    struct fs_file_t file;
    fs_file_t_init(&file);

    int err = fs_open(&file, path, FS_O_READ);
    if (err)
    {
        LOG_ERR("Could not open %s, err: %d", path, err);
        free(buf);
        return err;
    }

    size = fs_read(&file, buf, size);
    if (size < 0)
    {
        LOG_ERR("Could not read %s, err: %d", path, size);
        free(buf);
        goto finish;
    }

    LOG_DBG("Read %d bytes from %s", size, path);

    *out = buf;

finish:
    fs_close(&file);
    return size;
}

psa_key_id_t load_private_key(void)
{
    uint8_t *buf;
    ssize_t size = read_file(KEY_FILE, &buf);
    if (size < 0)
    {
        return PSA_KEY_ID_NULL;
    }

    psa_key_id_t key_id = import_raw_pk(buf, size);
    free(buf);
    return key_id;
}

int load_certificate(struct pouch_cert *cert)
{
    uint8_t *buf;
    ssize_t size = read_file(CERT_FILE, &buf);
    if (size < 0)
    {
        return size;
    }

    cert->buffer = buf;
    cert->size = size;

    LOG_DBG("Read certificate (%d bytes)", size);

    return 0;
}

void free_certificate(struct pouch_cert *cert)
{
    free((void *) cert->buffer);
}

static ssize_t load_file_to_tls(const char *filename,
                                sec_tag_t sec_tag,
                                enum tls_credential_type type,
                                uint8_t **buf)
{
    ssize_t size = read_file(filename, buf);
    if (size < 0)
    {
        return size;
    }

    int err = tls_credential_add(sec_tag, type, *buf, size);
    return err;
}

int load_coap_server_ca(sec_tag_t sec_tag)
{
#ifdef CONFIG_EXAMPLE_COAP_CLIENT_DTLS_LOAD_CA_FROM_FILESYSTEM
    if (NULL != _m_dtls_ctx.ca_cert)
    {
        LOG_ERR("Free existing CA cert before loading");
        return -EEXIST;
    }

    _m_dtls_ctx.ca_cert_len = load_file_to_tls(COAP_CA_FILE,
                                               sec_tag,
                                               TLS_CREDENTIAL_CA_CERTIFICATE,
                                               &_m_dtls_ctx.ca_cert);
    return _m_dtls_ctx.ca_cert_len;
#else
    return tls_credential_add(sec_tag,
                              TLS_CREDENTIAL_CA_CERTIFICATE,
                              dtls_ca_crt,
                              sizeof(dtls_ca_crt));
#endif
}

int load_coap_gw_device_crt(sec_tag_t sec_tag)
{
    if (NULL != _m_dtls_ctx.gw_crt)
    {
        LOG_ERR("Free existing gateway cert before loading");
        return -EEXIST;
    }

    _m_dtls_ctx.gw_crt_len = load_file_to_tls(GW_CERT_FILE,
                                              sec_tag,
                                              TLS_CREDENTIAL_PUBLIC_CERTIFICATE,
                                              &_m_dtls_ctx.gw_crt);
    return _m_dtls_ctx.gw_crt_len;
}

int load_coap_gw_device_key(sec_tag_t sec_tag)
{
    if (NULL != _m_dtls_ctx.gw_key)
    {
        LOG_ERR("Free existing gateway key before loading");
        return -EEXIST;
    }

    _m_dtls_ctx.gw_key_len =
        load_file_to_tls(GW_KEY_FILE, sec_tag, TLS_CREDENTIAL_PRIVATE_KEY, &_m_dtls_ctx.gw_key);
    return _m_dtls_ctx.gw_key_len;
}

void free_coap_certs(void)
{
    if (IS_ENABLED(CONFIG_EXAMPLE_COAP_CLIENT_DTLS_LOAD_CA_FROM_FILESYSTEM))
    {
        free(_m_dtls_ctx.ca_cert);
    }

    _m_dtls_ctx.ca_cert = NULL;
    _m_dtls_ctx.ca_cert_len = 0;

    free(_m_dtls_ctx.gw_crt);
    _m_dtls_ctx.gw_crt = NULL;
    _m_dtls_ctx.gw_crt_len = 0;

    free(_m_dtls_ctx.gw_key);
    _m_dtls_ctx.gw_key = NULL;
    _m_dtls_ctx.gw_key_len = 0;
}
```

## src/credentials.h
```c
/*
 * Copyright (c) 2025 Golioth, Inc.
 *
 * SPDX-License-Identifier: Apache-2.0
 */
#pragma once

#include <psa/crypto.h>
#include <pouch/types.h>
#include <zephyr/net/tls_credentials.h>

/**
 * Import the device private key into PSA
 *
 * @returns The assigned PSA key ID for the device's private key, or @c PSA_KEY_ID_NULL if the
 * private key could not be loaded.
 */
psa_key_id_t load_private_key(void);

/**
 * Load the device certificate.
 */
int load_certificate(struct pouch_cert *cert);

/** Free the device certificate. */
void free_certificate(struct pouch_cert *cert);

/**
 * Load server CA certificate needed for DTLS connection.
 */
int load_coap_server_ca(sec_tag_t sec_tag);

/**
 * Load Gateway device certificate needed for DTLS mTLS connection.
 */
int load_coap_gw_device_crt(sec_tag_t sec_tag);

/**
 * Load Gateway device private key needed for DTLS mTLS connection.
 */
int load_coap_gw_device_key(sec_tag_t sec_tag);

/**
 * Free DTLS credentials loaded from the filesystem.
 */
void free_coap_certs(void);
```

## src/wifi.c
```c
/*
 * Copyright (c) 2026 Golioth, Inc.
 *
 * SPDX-License-Identifier: Apache-2.0
 */

#include <zephyr/logging/log.h>
LOG_MODULE_REGISTER(example_wifi);

#include <zephyr/net/wifi_mgmt.h>
#include <zephyr/net/net_if.h>
#include <zephyr/net/net_event.h>
#include <zephyr/net/wifi_credentials.h>
#include <zephyr/settings/settings.h>

static K_SEM_DEFINE(wifi_connected, 0, 1);
static struct net_mgmt_event_callback wifi_cb;

static void connect_cb(void *cb_arg, const char *ssid, size_t ssid_len)
{
    struct net_if *iface = cb_arg;
    struct wifi_credentials_personal creds = {0};

    if (wifi_credentials_get_by_ssid_personal_struct(ssid, ssid_len, &creds) == 0)
    {
        struct wifi_connect_req_params params = {
            .ssid = creds.header.ssid,
            .ssid_length = creds.header.ssid_len,
            .psk = creds.password,
            .psk_length = creds.password_len,
            .security = creds.header.type,
        };
        net_mgmt(NET_REQUEST_WIFI_CONNECT, iface, &params, sizeof(params));
    }
}

static void wifi_mgmt_event_handler(struct net_mgmt_event_callback *cb,
                                    uint64_t mgmt_event,
                                    struct net_if *iface)
{
    if (mgmt_event == NET_EVENT_WIFI_CONNECT_RESULT)
    {
        const struct wifi_status *status = (const struct wifi_status *) cb->info;

        if (status->status)
        {
            LOG_ERR("WiFi connection failed (status %d)", status->status);
        }
        else
        {
            LOG_INF("WiFi connected");
            k_sem_give(&wifi_connected);
        }
    }
}

void wifi_connect(void)
{
    net_mgmt_init_event_callback(&wifi_cb, wifi_mgmt_event_handler, NET_EVENT_WIFI_CONNECT_RESULT);
    net_mgmt_add_event_callback(&wifi_cb);

    LOG_INF("Initializing settings");
    settings_subsys_init();
    settings_load();

    LOG_INF("Connecting to WiFi");
    struct net_if *iface = net_if_get_wifi_sta();
    if (wifi_credentials_is_empty())
    {
        LOG_ERR("No WiFi credentials available");
        LOG_ERR("   After using `wifi cred add ...` to set, run `kernel reboot`");
        k_sleep(K_FOREVER);
    }
    wifi_credentials_for_each_ssid(connect_cb, iface);

    k_sem_take(&wifi_connected, K_FOREVER);
}
```
